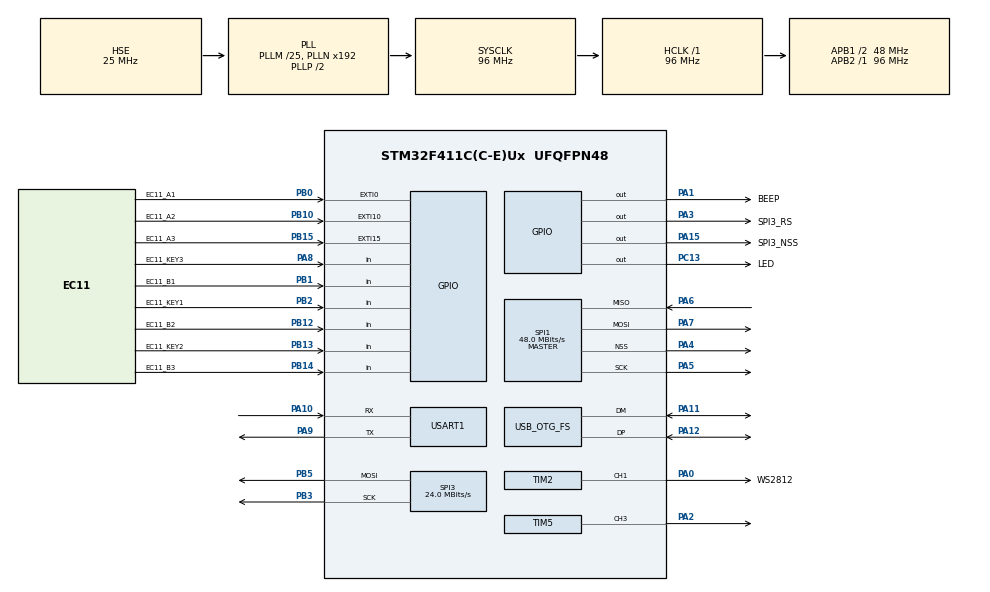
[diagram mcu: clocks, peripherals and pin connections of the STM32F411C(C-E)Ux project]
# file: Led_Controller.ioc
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Dma.Request0=SPI3_TX
Dma.Request1=TIM2_CH1
Dma.SPI3_TX.0.Direction=DMA_MEMORY_TO_PERIPH
Dma.SPI3_TX.0.FIFOMode=DMA_FIFOMODE_DISABLE
Dma.SPI3_TX.0.Instance=DMA1_Stream7
Dma.SPI3_TX.0.MemDataAlignment=DMA_MDATAALIGN_BYTE
Dma.SPI3_TX.0.MemInc=DMA_MINC_ENABLE
Dma.SPI3_TX.0.Mode=DMA_NORMAL
Dma.SPI3_TX.0.PeriphDataAlignment=DMA_PDATAALIGN_BYTE
Dma.SPI3_TX.0.PeriphInc=DMA_PINC_DISABLE
Dma.SPI3_TX.0.Priority=DMA_PRIORITY_VERY_HIGH
Dma.TIM2_CH1.1.Direction=DMA_MEMORY_TO_PERIPH
Dma.TIM2_CH1.1.FIFOMode=DMA_FIFOMODE_DISABLE
Dma.TIM2_CH1.1.Instance=DMA1_Stream5
Dma.TIM2_CH1.1.MemDataAlignment=DMA_MDATAALIGN_WORD
Dma.TIM2_CH1.1.MemInc=DMA_MINC_ENABLE
Dma.TIM2_CH1.1.Mode=DMA_NORMAL
Dma.TIM2_CH1.1.PeriphDataAlignment=DMA_PDATAALIGN_WORD
Dma.TIM2_CH1.1.PeriphInc=DMA_PINC_DISABLE
Dma.TIM2_CH1.1.Priority=DMA_PRIORITY_LOW
FREERTOS.Queues01=Ecode_Queue,16,uint16_t,0,Dynamic,NULL,NULL
FREERTOS.Tasks01=cmyk,0,512,Cmyk_Task,Default,NULL,Dynamic,NULL,NULL;lcd,2,2048,Lcd_Task,Default,NULL,Dynamic,NULL,NULL;Ecoding,3,1024,Ecoding_Task,Default,NULL,Dynamic,NULL,NULL
FREERTOS.Timers01=counter,Counter_Callback,osTimerPeriodic,Default,NULL,Dynamic,NULL;Report,Report_Callback,osTimerPeriodic,Default,NULL,Dynamic,NULL
FREERTOS.configCHECK_FOR_STACK_OVERFLOW=2
FREERTOS.configMINIMAL_STACK_SIZE=256
FREERTOS.configTOTAL_HEAP_SIZE=0x1B800
FREERTOS.configUSE_MALLOC_FAILED_HOOK=1
FREERTOS.configUSE_TICK_HOOK=1
FREERTOS.configUSE_TIMERS=1
Mcu.Family=STM32F4
Mcu.Name=STM32F411C(C-E)Ux
Mcu.Package=UFQFPN48
NVIC.DMA1_Stream5_IRQn=true\:5\:0\:false\:false\:true\:true\:false\:true\:true
NVIC.DMA1_Stream7_IRQn=true\:5\:0\:false\:false\:true\:false\:false\:true\:true
NVIC.EXTI0_IRQn=true\:5\:0\:false\:false\:true\:true\:true\:true\:true
NVIC.EXTI15_10_IRQn=true\:5\:0\:false\:false\:true\:true\:true\:true\:true
NVIC.OTG_FS_IRQn=true\:5\:0\:false\:false\:true\:true\:false\:true\:true
NVIC.PriorityGroup=NVIC_PRIORITYGROUP_4
NVIC.TIM1_UP_TIM10_IRQn=true\:15\:0\:false\:false\:true\:false\:false\:true\:true
NVIC.TimeBase=TIM1_UP_TIM10_IRQn
NVIC.TimeBaseIP=TIM1
PA0-WKUP.GPIO_Label=WS2812
PA0-WKUP.Signal=S_TIM2_CH1_ETR
PA1.GPIO_Label=BEEP
PA1.GPIO_PuPd=GPIO_PULLUP
PA1.PinState=GPIO_PIN_RESET
PA1.Signal=GPIO_Output
PA10.Mode=Asynchronous
PA10.Signal=USART1_RX
PA11.Mode=Device_Only
PA11.Signal=USB_OTG_FS_DM
PA12.Mode=Device_Only
PA12.Signal=USB_OTG_FS_DP
PA13.Mode=Serial_Wire
PA13.Signal=SYS_JTMS-SWDIO
PA14.Mode=Serial_Wire
PA14.Signal=SYS_JTCK-SWCLK
PA15.GPIO_Label=SPI3_NSS
PA15.GPIO_PuPd=GPIO_PULLUP
PA15.GPIO_Speed=GPIO_SPEED_FREQ_VERY_HIGH
PA15.PinState=GPIO_PIN_SET
PA15.Signal=GPIO_Output
PA2.Signal=S_TIM5_CH3
PA3.GPIO_Label=SPI3_RS
PA3.GPIO_PuPd=GPIO_PULLUP
PA3.GPIO_Speed=GPIO_SPEED_FREQ_VERY_HIGH
PA3.PinState=GPIO_PIN_SET
PA3.Signal=GPIO_Output
PA4.Mode=NSS_Signal_Hard_Output
PA4.Signal=SPI1_NSS
PA5.Mode=Full_Duplex_Master
PA5.Signal=SPI1_SCK
PA6.Mode=Full_Duplex_Master
PA6.Signal=SPI1_MISO
PA7.Mode=Full_Duplex_Master
PA7.Signal=SPI1_MOSI
PA8.GPIO_Label=EC11_KEY3
PA8.Signal=GPIO_Input
PA9.Mode=Asynchronous
PA9.Signal=USART1_TX
PB0.GPIO_Label=EC11_A1
PB0.GPIO_ModeDefaultEXTI=GPIO_MODE_IT_RISING_FALLING
PB0.GPIO_PuPd=GPIO_PULLUP
PB0.Signal=GPXTI0
PB1.GPIO_Label=EC11_B1
PB1.GPIO_PuPd=GPIO_PULLUP
PB1.Signal=GPIO_Input
PB10.GPIO_Label=EC11_A2
PB10.GPIO_ModeDefaultEXTI=GPIO_MODE_IT_RISING_FALLING
PB10.GPIO_PuPd=GPIO_PULLUP
PB10.Signal=GPXTI10
PB12.GPIO_Label=EC11_B2
PB12.GPIO_PuPd=GPIO_PULLUP
PB12.Signal=GPIO_Input
PB13.GPIO_Label=EC11_KEY2
PB13.Signal=GPIO_Input
PB14.GPIO_Label=EC11_B3
PB14.GPIO_PuPd=GPIO_PULLUP
PB14.Signal=GPIO_Input
PB15.GPIO_Label=EC11_A3
PB15.GPIO_ModeDefaultEXTI=GPIO_MODE_IT_RISING_FALLING
PB15.GPIO_PuPd=GPIO_PULLUP
PB15.Signal=GPXTI15
PB2.GPIO_Label=EC11_KEY1
PB2.Signal=GPIO_Input
PB3.GPIO_PuPd=GPIO_PULLUP
PB3.Mode=TX_Only_Simplex_Unidirect_Master
PB3.Signal=SPI3_SCK
PB5.GPIO_PuPd=GPIO_PULLUP
PB5.Mode=TX_Only_Simplex_Unidirect_Master
PB5.Signal=SPI3_MOSI
PC13-ANTI_TAMP.GPIO_Label=LED
PC13-ANTI_TAMP.GPIO_PuPd=GPIO_PULLUP
PC13-ANTI_TAMP.PinState=GPIO_PIN_SET
PC13-ANTI_TAMP.Signal=GPIO_Output
PC14-OSC32_IN.Mode=LSE-External-Oscillator
PC14-OSC32_IN.Signal=RCC_OSC32_IN
PC15-OSC32_OUT.Mode=LSE-External-Oscillator
PC15-OSC32_OUT.Signal=RCC_OSC32_OUT
PH0\ -\ OSC_IN.Mode=HSE-External-Oscillator
PH0\ -\ OSC_IN.Signal=RCC_OSC_IN
PH1\ -\ OSC_OUT.Mode=HSE-External-Oscillator
PH1\ -\ OSC_OUT.Signal=RCC_OSC_OUT
ProjectManager.HeapSize=0x200
ProjectManager.StackSize=0x400
ProjectManager.TargetToolchain=MDK-ARM V5.27
RCC.48MHZClocksFreq_Value=48000000
RCC.AHBFreq_Value=96000000
RCC.APB1CLKDivider=RCC_HCLK_DIV2
RCC.APB1Freq_Value=48000000
RCC.APB1TimFreq_Value=96000000
RCC.APB2Freq_Value=96000000
RCC.APB2TimFreq_Value=96000000
RCC.CortexFreq_Value=96000000
RCC.HCLKFreq_Value=96000000
RCC.HSE_VALUE=25000000
RCC.HSI_VALUE=16000000
RCC.PLLM=25
RCC.SYSCLKFreq_VALUE=96000000
RCC.SYSCLKSource=RCC_SYSCLKSOURCE_PLLCLK
RCC.VCOOutputFreq_Value=192000000
SH.S_TIM2_CH1_ETR.0=TIM2_CH1,PWM Generation1 CH1
SH.S_TIM5_CH3.0=TIM5_CH3,PWM Generation3 CH3
SPI1.CalculateBaudRate=48.0 MBits/s
SPI1.DataSize=SPI_DATASIZE_16BIT
SPI1.Direction=SPI_DIRECTION_2LINES
SPI1.Mode=SPI_MODE_MASTER
SPI1.TIMode=SPI_TIMODE_DISABLE
SPI1.VirtualNSS=VM_NSSHARD
SPI1.VirtualType=VM_MASTER
SPI3.CLKPhase=SPI_PHASE_2EDGE
SPI3.CLKPolarity=SPI_POLARITY_HIGH
SPI3.CalculateBaudRate=24.0 MBits/s
SPI3.DataSize=SPI_DATASIZE_8BIT
SPI3.Direction=SPI_DIRECTION_2LINES
SPI3.Mode=SPI_MODE_MASTER
SPI3.VirtualType=VM_MASTER
TIM2.Channel-PWM\ Generation1\ CH1=TIM_CHANNEL_1
TIM2.Period=120-1
TIM5.Channel-PWM\ Generation3\ CH3=TIM_CHANNEL_3
TIM5.Period=100
TIM5.Prescaler=960-1
TIM5.Pulse-PWM\ Generation3\ CH3=50
USART1.VirtualMode=VM_ASYNC
USB_DEVICE.APP_RX_DATA_SIZE=512
USB_DEVICE.APP_TX_DATA_SIZE=512
USB_DEVICE.CLASS_NAME_FS=CDC
USB_DEVICE.VirtualMode=Cdc
USB_DEVICE.VirtualModeFS=Cdc_FS
USB_OTG_FS.VirtualMode=Device_Only
VP_FREERTOS_VS_CMSIS_V1.Mode=CMSIS_V1
VP_SYS_VS_tim1.Mode=TIM1
VP_TIM2_VS_ClockSourceINT.Mode=Internal
VP_TIM5_VS_ClockSourceINT.Mode=Internal
VP_USB_DEVICE_VS_USB_DEVICE_CDC_FS.Mode=CDC_FS
board=custom

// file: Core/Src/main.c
/* USER CODE BEGIN Header */
/**
 ******************************************************************************
 * @file           : main.c
 * @brief          : Main program body
 ******************************************************************************
 * @attention
 *
 * Copyright (c) 2022 STMicroelectronics.
 * All rights reserved.
 *
 * This software is licensed under terms that can be found in the LICENSE file
 * in the root directory of this software component.
 * If no LICENSE file comes with this software, it is provided AS-IS.
 *
 ******************************************************************************
 */
/* USER CODE END Header */
#include "main.h"
#include "cmsis_os.h"
#include "dma.h"
#include "spi.h"
#include "tim.h"
#include "usart.h"
#include "usb_device.h"
#include "gpio.h"

/* USER CODE BEGIN Includes */
#include "Lcd.h"
/* USER CODE END Includes */

/* USER CODE BEGIN PTD */
// bool g_OsRun = false;
/* USER CODE END PTD */

void SystemClock_Config(void);
void MX_FREERTOS_Init(void);

int main(void)
{

  /* MCU Configuration--------------------------------------------------------*/

  /* Reset of all peripherals, Initializes the Flash interface and the Systick. */
  HAL_Init();

  /* Configure the system clock */
  SystemClock_Config();

  /* USER CODE BEGIN SysInit */
  // SCB->VTOR = FLASH_BASE | 0x4000;
  /* USER CODE END SysInit */

  /* Initialize all configured peripherals */
  MX_GPIO_Init();
  MX_SPI1_Init();
  // MX_TIM2_Init();
  // MX_SPI3_Init();
  MX_DMA_Init();
  MX_USART1_UART_Init();
  MX_TIM5_Init();
  /* USER CODE BEGIN 2 */
  MX_SPI3_Init();
  MX_TIM2_Init();
  // HAL_TIM_PWM_Init(&htim5);
  // MX_TIM5_Init();
  HAL_TIM_PWM_Start(&htim5, TIM_CHANNEL_3);
  /* USER CODE END 2 */

  /* Call init function for freertos objects (in freertos.c) */
  MX_FREERTOS_Init();

  /* Start scheduler */
  osKernelStart();

  /* We should never get here as control is now taken by the scheduler */
  /* Infinite loop */
  while (1)
  {

    /* USER CODE BEGIN 3 */
#if defined(USING_DEBUG)
    // Debug("Hello World!\r\n");
#endif
  }
  /* USER CODE END 3 */
}

void SystemClock_Config(void)
{
  RCC_OscInitTypeDef RCC_OscInitStruct = {0};
  RCC_ClkInitTypeDef RCC_ClkInitStruct = {0};

  /** Configure the main internal regulator output voltage
   */
  __HAL_RCC_PWR_CLK_ENABLE();
  __HAL_PWR_VOLTAGESCALING_CONFIG(PWR_REGULATOR_VOLTAGE_SCALE1);

  /** Initializes the RCC Oscillators according to the specified parameters
   * in the RCC_OscInitTypeDef structure.
   */
  RCC_OscInitStruct.OscillatorType = RCC_OSCILLATORTYPE_HSE;
  RCC_OscInitStruct.HSEState = RCC_HSE_ON;
  RCC_OscInitStruct.PLL.PLLState = RCC_PLL_ON;
  RCC_OscInitStruct.PLL.PLLSource = RCC_PLLSOURCE_HSE;
  RCC_OscInitStruct.PLL.PLLM = 25;
  RCC_OscInitStruct.PLL.PLLN = 192;
  RCC_OscInitStruct.PLL.PLLP = RCC_PLLP_DIV2;
  RCC_OscInitStruct.PLL.PLLQ = 4;
  if (HAL_RCC_OscConfig(&RCC_OscInitStruct) != HAL_OK)
  {
    Error_Handler();
  }

  /** Initializes the CPU, AHB and APB buses clocks
   */
  RCC_ClkInitStruct.ClockType = RCC_CLOCKTYPE_HCLK | RCC_CLOCKTYPE_SYSCLK | RCC_CLOCKTYPE_PCLK1 | RCC_CLOCKTYPE_PCLK2;
  RCC_ClkInitStruct.SYSCLKSource = RCC_SYSCLKSOURCE_PLLCLK;
  RCC_ClkInitStruct.AHBCLKDivider = RCC_SYSCLK_DIV1;
  RCC_ClkInitStruct.APB1CLKDivider = RCC_HCLK_DIV2;
  RCC_ClkInitStruct.APB2CLKDivider = RCC_HCLK_DIV1;

  if (HAL_RCC_ClockConfig(&RCC_ClkInitStruct, FLASH_LATENCY_3) != HAL_OK)
  {
    Error_Handler();
  }
}

void HAL_TIM_PeriodElapsedCallback(TIM_HandleTypeDef *htim)
{
  if (htim->Instance == TIM1)
  {
    HAL_IncTick();
  }
  /* USER CODE BEGIN Callback 1 */
  // /*Lvgl heartbeat*/
  // lv_tick_inc(1);
  /* USER CODE END Callback 1 */
}

void Error_Handler(void)
{
  __disable_irq();
  while (1)
  {
  }
}

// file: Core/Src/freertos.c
/* USER CODE BEGIN Header */
/**
 ******************************************************************************
 * File Name          : freertos.c
 * Description        : Code for freertos applications
 ******************************************************************************
 * @attention
 *
 * Copyright (c) 2022 STMicroelectronics.
 * All rights reserved.
 *
 * This software is licensed under terms that can be found in the LICENSE file
 * in the root directory of this software component.
 * If no LICENSE file comes with this software, it is provided AS-IS.
 *
 ******************************************************************************
 */
/* USER CODE END Header */

#include "FreeRTOS.h"
#include "task.h"
#include "main.h"
#include "cmsis_os.h"

/* USER CODE BEGIN Includes */
#include "tim.h"
#include "usart.h"
#include "Lcd.h"
#include "picture.h"
#include "ws2812.h"
#include "Ec11.h"
#include "lvgl.h"
#include "lv_port_disp.h"
#include "lv_port_indev.h"
#include "gui_guider.h"
#include "events_init.h"
//#include "lv_examples.h"
//#include "lv_demo_benchmark.h"
#include "Flash.h"
/* USER CODE END Includes */

/* USER CODE BEGIN PD */
bool g_OsRun = false;
/* USER CODE END PD */

osThreadId cmykHandle;
osThreadId lcdHandle;
osThreadId EcodingHandle;
osMessageQId Ecode_QueueHandle;
osTimerId counterHandle;
osTimerId ReportHandle;

/* USER CODE BEGIN FunctionPrototypes */
#if LV_USE_LOG
void my_log_cb(const char *buf)
{
  extern uint8_t CDC_Transmit_FS(uint8_t * Buf, uint16_t Len);
  CDC_Transmit_FS((uint8_t *)buf, strlen(buf));
}
#endif
/* USER CODE END FunctionPrototypes */

void Cmyk_Task(void const *argument);
void Lcd_Task(void const *argument);
void Ecoding_Task(void const *argument);
void Counter_Callback(void const *argument);
void Report_Callback(void const *argument);

extern void MX_USB_DEVICE_Init(void);
void MX_FREERTOS_Init(void); /* (MISRA C 2004 rule 8.1) */

/* GetIdleTaskMemory prototype (linked to static allocation support) */
void vApplicationGetIdleTaskMemory(StaticTask_t **ppxIdleTaskTCBBuffer, StackType_t **ppxIdleTaskStackBuffer, uint32_t *pulIdleTaskStackSize);

/* GetTimerTaskMemory prototype (linked to static allocation support) */
void vApplicationGetTimerTaskMemory(StaticTask_t **ppxTimerTaskTCBBuffer, StackType_t **ppxTimerTaskStackBuffer, uint32_t *pulTimerTaskStackSize);

/* Hook prototypes */
void vApplicationTickHook(void);
void vApplicationStackOverflowHook(xTaskHandle xTask, signed char *pcTaskName);
void vApplicationMallocFailedHook(void);

/* USER CODE BEGIN 3 */
__weak void vApplicationTickHook(void)
{
  /* This function will be called by each tick interrupt if
  configUSE_TICK_HOOK is set to 1 in FreeRTOSConfig.h. User code can be
  added here, but the tick hook is called from an interrupt context, so
  code must not attempt to block, and only the interrupt safe FreeRTOS API
  functions can be used (those that end in FromISR()). */
  /*Lvgl heartbeat*/
#if (!LV_TICK_CUSTOM)
  lv_tick_inc(1);
#endif
#if defined(USING_DEBUG)
  // Debug("note: time slice trigger.\r\n");
#endif
}
/* USER CODE END 3 */

/* USER CODE BEGIN 4 */
__weak void vApplicationStackOverflowHook(xTaskHandle xTask, signed char *pcTaskName)
{
/* Run time stack overflow checking is performed if
configCHECK_FOR_STACK_OVERFLOW is defined to 1 or 2. This hook function is
called if a stack overflow is detected. */
#if defined(USING_DEBUG)
  Debug("Error: Task %s is Stack Overflow!\r\n", *pcTaskName);
#endif
}
/* USER CODE END 4 */

/* USER CODE BEGIN 5 */
__weak void vApplicationMallocFailedHook(void)
{
/* vApplicationMallocFailedHook() will only be called if
configUSE_MALLOC_FAILED_HOOK is set to 1 in FreeRTOSConfig.h. It is a hook
function that will get called if a call to pvPortMalloc() fails.
pvPortMalloc() is called internally by the kernel whenever a task, queue,
timer or semaphore is created. It is also called by various parts of the
demo application. If heap_1.c or heap_2.c are used, then the size of the
heap available to pvPortMalloc() is defined by configTOTAL_HEAP_SIZE in
FreeRTOSConfig.h, and the xPortGetFreeHeapSize() API function can be used
to query the size of free heap space that remains (although it does not
provide information on how the remaining heap might be fragmented). */
#if defined(USING_DEBUG)
  Debug("Error: memory allocation failed !\r\n");
#endif
}
/* USER CODE END 5 */

/* USER CODE BEGIN GET_IDLE_TASK_MEMORY */
static StaticTask_t xIdleTaskTCBBuffer;
static StackType_t xIdleStack[configMINIMAL_STACK_SIZE];

void vApplicationGetIdleTaskMemory(StaticTask_t **ppxIdleTaskTCBBuffer, StackType_t **ppxIdleTaskStackBuffer, uint32_t *pulIdleTaskStackSize)
{
  *ppxIdleTaskTCBBuffer = &xIdleTaskTCBBuffer;
  *ppxIdleTaskStackBuffer = &xIdleStack[0];
  *pulIdleTaskStackSize = configMINIMAL_STACK_SIZE;
  /* place for user code */
}
/* USER CODE END GET_IDLE_TASK_MEMORY */

/* USER CODE BEGIN GET_TIMER_TASK_MEMORY */
static StaticTask_t xTimerTaskTCBBuffer;
static StackType_t xTimerStack[configTIMER_TASK_STACK_DEPTH];

void vApplicationGetTimerTaskMemory(StaticTask_t **ppxTimerTaskTCBBuffer, StackType_t **ppxTimerTaskStackBuffer, uint32_t *pulTimerTaskStackSize)
{
  *ppxTimerTaskTCBBuffer = &xTimerTaskTCBBuffer;
  *ppxTimerTaskStackBuffer = &xTimerStack[0];
  *pulTimerTaskStackSize = configTIMER_TASK_STACK_DEPTH;
  /* place for user code */
}
/* USER CODE END GET_TIMER_TASK_MEMORY */

void MX_FREERTOS_Init(void)
{

  /* Create the timer(s) */
  /* definition and creation of counter */
  osTimerDef(counter, Counter_Callback);
  counterHandle = osTimerCreate(osTimer(counter), osTimerPeriodic, NULL);

  /* definition and creation of Report */
  osTimerDef(Report, Report_Callback);
  ReportHandle = osTimerCreate(osTimer(Report), osTimerPeriodic, NULL);

  /* USER CODE BEGIN RTOS_TIMERS */
  /* start timers, add new ones, ... */
  // extern TIM_HandleTypeDef htim2;
  // HAL_TIM_PWM_Start(&htim2, TIM_CHANNEL_1);
  // static uint16_t pulse[] = {
  //     0,
  //     60,
  //     80,
  //     0,
  //     40,
  //     30,
  // };
  // HAL_TIM_PWM_Start_DMA(&htim5, TIM_CHANNEL_1, (uint32_t *)pulse, sizeof(pulse));
  osTimerStart(counterHandle, 200U);
  osTimerStart(ReportHandle, 1000U);
  /* USER CODE END RTOS_TIMERS */

  /* Create the queue(s) */
  /* definition and creation of Ecode_Queue */
  osMessageQDef(Ecode_Queue, 16, uint16_t);
  Ecode_QueueHandle = osMessageCreate(osMessageQ(Ecode_Queue), NULL);

  /* Create the thread(s) */
  /* definition and creation of cmyk */
  osThreadDef(cmyk, Cmyk_Task, osPriorityNormal, 0, 512);
  cmykHandle = osThreadCreate(osThread(cmyk), NULL);

  /* definition and creation of lcd */
  osThreadDef(lcd, Lcd_Task, osPriorityHigh, 0, 2048);
  lcdHandle = osThreadCreate(osThread(lcd), NULL);

  /* definition and creation of Ecoding */
  osThreadDef(Ecoding, Ecoding_Task, osPriorityRealtime, 0, 1024);
  EcodingHandle = osThreadCreate(osThread(Ecoding), NULL);

  /* USER CODE BEGIN RTOS_THREADS */
  /* add threads, ... */
  //   MX_USB_DEVICE_Init();
  //   MX_LCD_Init();
  //   MX_WS281x_Init();
  //   /*Initialize littleVGL*/
  //   lv_init();
  //   /*lvgl display interface initialization, placed after lv_init()*/
  //   lv_port_disp_init();
  //   /*lvgl input interface initialization, placed after lv_init()*/
  //   lv_port_indev_init();
  // #if LV_USE_LOG
  //   /*Registered user log output*/
  //   lv_log_register_print_cb(my_log_cb);
  // #endif
  //   /*Create a GUI-Guider app */
  //   setup_ui(&guider_ui);
  if ((guser.save_flag == 0x5AA5) || (guser.save_flag == 0xFFFF))
  {
    guser.save_flag = 0xA55A;
    FLASH_Write(SAVE_PARAM_FLASH_ADDR, (uint32_t *)&guser, sizeof(guser));
  }
  else
  {
    // FLASH_Write(SAVE_PARAM_FLASH_ADDR, (uint32_t *)&guser, sizeof(guser));
    FLASH_Read(SAVE_PARAM_FLASH_ADDR, &guser, sizeof(guser));
  }
  __HAL_TIM_SET_COMPARE(&htim5, TIM_CHANNEL_3, guser.brightness);
  /* USER CODE END RTOS_THREADS */
}

void Cmyk_Task(void const *argument)
{
  //   /* init code for USB_DEVICE */
  //   MX_USB_DEVICE_Init();
  //   /* USER CODE BEGIN Cmyk_Task */
  //   g_OsRun = true;
  //   MX_LCD_Init();
  //   MX_WS281x_Init();
  //   /*Initialize littleVGL*/
  //   lv_init();
  //   /*lvgl display interface initialization, placed after lv_init()*/
  //   lv_port_disp_init();
  //   /*lvgl input interface initialization, placed after lv_init()*/
  //   lv_port_indev_init();
  // #if LV_USE_LOG
  //   /*Registered user log output*/
  //   lv_log_register_print_cb(my_log_cb);
  // #endif
  //   /*Create a GUI-Guider app */
  //   setup_ui(&guider_ui);
  // _lv_group_init();
  //  taskENTER_CRITICAL();
  //  lv_example_anim_1();
  //  taskEXIT_CRITICAL();
  // lv_demo_benchmark();
  CMYK cmyk = {
      .C.C = 0,
      .C.M = 0,
      .C.Y = 0,
      .C.K = 100,
  };
  /*Continuously calling lv_label_set_text will cause memory overflow*/
  // bool first_flag = false;
  /* Infinite loop */
  for (;;)
  {
#if defined(USING_DEBUG)
    // Debug("Cmyk_Task is running!\r\n");
    // //	  osDelay(10);
    // Debug("hello world!\r\n");
#endif
    if (Ws281x)
    {
      // Ws281x->WS281x_Test(Ws281x);
      // lv_disp_t *d = lv_obj_get_disp(lv_scr_act());
      while (guser.test_flag)
      {
        Ws281x->WS281x_CmykToRgb(Ws281x, guser.Ws281x_Cmyk, 1000);
      }
      if ((guser.system_start == true) && ((guser.timer_counts - 1.0F) >= 0))
      {
        guser.timer_counts--;
        if (guser.timer_counts < 1.0F)
        {
          guser.timer_counts = 0;
        }
        if (lv_scr_act() == guider_ui.Timer)
          lv_event_send(guider_ui.Timer_btn_1, LV_EVENT_VALUE_CHANGED, &guser.timer_counts);
        // first_flag = false;
        Ws281x->WS281x_CmykToRgb(Ws281x, guser.Ws281x_Cmyk, 1000 - 200);
        if (guser.buzzer_switch)
        {
          // osTimerStart(counterHandle, 200U);
          // HAL_GPIO_TogglePin(BEEP_GPIO_Port, BEEP_Pin);
          HAL_GPIO_WritePin(BEEP_GPIO_Port, BEEP_Pin, GPIO_PIN_SET);
          osDelay(200);
          HAL_GPIO_WritePin(BEEP_GPIO_Port, BEEP_Pin, GPIO_PIN_RESET);
        }
        else
        {
          // osTimerStop(counterHandle);
          HAL_GPIO_WritePin(BEEP_GPIO_Port, BEEP_Pin, GPIO_PIN_RESET);
        }
      }
      else
      {
        guser.system_start = false;
        // if ((d->prev_scr == guider_ui.Timer) && guider_ui.Timer_btn_1_label)
        // if (guider_ui.Timer_btn_1_label && !first_flag)
        // {
        //   first_flag = true;
        //   lv_label_set_text(guider_ui.Timer_btn_1_label, "R");
        // }
        if (lv_scr_act() == guider_ui.Timer)
          lv_event_send(guider_ui.Timer_btn_2, LV_EVENT_VALUE_CHANGED, NULL);
        Ws281x->WS281x_CmykToRgb(Ws281x, cmyk, 1000);
      }
    }
    // osDelay(1000);
  }
  /* USER CODE END Cmyk_Task */
}

void Lcd_Task(void const *argument)
{
  /* USER CODE BEGIN Lcd_Task */
  /* Infinite loop */
  for (;;)
  {
    lv_task_handler();
#if defined(USING_DEBUG)
    // Debug("Lcd_Task is Running!\r\n");
#endif
    osDelay(10);
  }
  /* USER CODE END Lcd_Task */
}

void Ecoding_Task(void const *argument)
{
  /* USER CODE BEGIN Ecoding_Task */
  // static uint8_t counts = 0;
  // static int value = 0;
  /* init code for USB_DEVICE */
  MX_USB_DEVICE_Init();
  /* USER CODE BEGIN Cmyk_Task */
  g_OsRun = true;
  MX_LCD_Init();
  MX_WS281x_Init();
  /*Initialize littleVGL*/
  lv_init();
  /*lvgl display interface initialization, placed after lv_init()*/
  lv_port_disp_init();
  /*lvgl input interface initialization, placed after lv_init()*/
  lv_port_indev_init();
#if LV_USE_LOG
  /*Registered user log output*/
  lv_log_register_print_cb(my_log_cb);
#endif
  /*Create a GUI-Guider app */
  setup_ui(&guider_ui);
  /* Infinite loop */
  for (;;)
  {
    Ec1x_Type type = Read_Ec1x();
    extern void encoder_handler(Ec1x_Type * ptype);

    encoder_handler(&type);
    // HAL_GPIO_WritePin(BEEP_GPIO_Port, BEEP_Pin, GPIO_PIN_SET);
    // guser.buzzer_start = true;
    // osTimerStart(counterHandle, 100);
    // osTimerStart(counterHandle, 100U);
    //     if ((type.Id != 0xFF) && (type.Option != None))
    //     {
    // #if defined(USING_DEBUG)
    // Debug("id = %d, type = %d\r\n", type.Id, type.Option);
    //       // Debug("id = %d, type = %d\r\n", type.Id, value / 20);
    // #endif
    //     }
    // Debug("hello world!\r\n");
  }
  /* USER CODE END Ecoding_Task */
}

/* Counter_Callback function */
void Counter_Callback(void const *argument)
{
  /* USER CODE BEGIN Counter_Callback */
  // extern void Lcd_test(void);
  // Lcd_test();
  // static RGB888 rgb = {.Color = 0x00FFFFFF};

  // //  rgb.C.R ? (rgb.C.G ? (rgb.C.B ? (rgb.C.B--) : (rgb.C.B = 0xFF, rgb.C.G--)) : (rgb.C.G = 0xFF, rgb.C.R--)) : (rgb.C.R = rgb.C.G = rgb.C.B = 0xFF);
  // rgb.C.R ? (rgb.C.G ? (rgb.C.B ? (rgb.C.B -= 51U) : (rgb.C.B = 0xFF, rgb.C.G -= 51U)) : (rgb.C.G = 0xFF, rgb.C.R -= 51U)) : (rgb.C.R = rgb.C.G = rgb.C.B = 0xFF);
  // if (Lcd)
  // {
  //   Lcd->Region.Color = (uint16_t)RGB888_TO_RGB565(rgb.Color);
  //   Lcd->LCD_Test(Lcd);
  // }

  // Lcd->Region.X.start = 0;
  // Lcd->Region.X.end = 99;
  // Lcd->Region.X.len = 100;
  // Lcd->Region.Y.start = 0;
  // Lcd->Region.Y.end = 99;
  // Lcd->Region.Y.len = 100;
  // Lcd->LCD_DisPicture(Lcd, gImage_Pic);

#if defined(USING_DEBUG)
  // Debug("Color is 0x%x.\r\n", rgb.Color);
#endif
  // HAL_GPIO_TogglePin(BEEP_GPIO_Port, BEEP_Pin);
  // osTimerStop(counterHandle);
  /* USER CODE END Counter_Callback */
}

/* Report_Callback function */
void Report_Callback(void const *argument)
{
  /* USER CODE BEGIN Report_Callback */
  // if (Ws281x)
  // {
  //   Ws281x->WS281x_Test(Ws281x);
  // }
  HAL_GPIO_TogglePin(LED_GPIO_Port, LED_Pin);
#if defined(USING_DEBUG)
  // Debug("Report callback.\r\n");
#endif
  /* USER CODE END Report_Callback */
}
